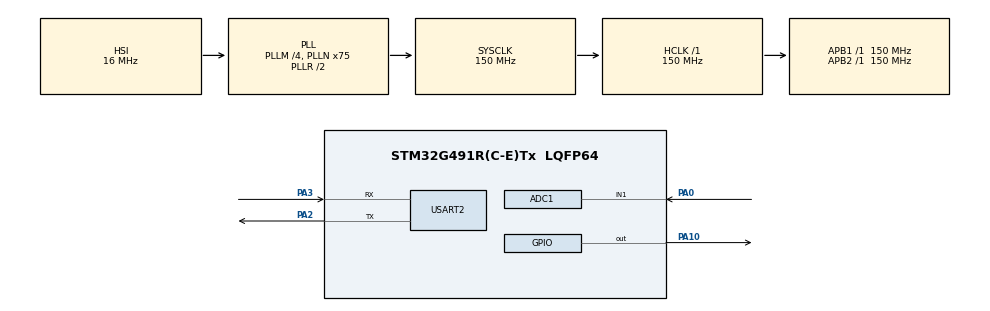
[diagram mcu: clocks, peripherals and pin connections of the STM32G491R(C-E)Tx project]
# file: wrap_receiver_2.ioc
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ADC1.Channel-1\#ChannelRegularConversion=ADC_CHANNEL_1
ADC1.ClockPrescaler=ADC_CLOCK_SYNC_PCLK_DIV4
ADC1.ContinuousConvMode=ENABLE
ADC1.DMAAccessModeView=ENABLE
ADC1.DMAContinuousRequests=ENABLE
ADC1.Mode=ADC_DUALMODE_INTERL
ADC1.NbrOfConversionFlag=1
ADC1.OffsetNumber-1\#ChannelRegularConversion=ADC_OFFSET_NONE
ADC1.Rank-1\#ChannelRegularConversion=1
ADC1.SamplingTime-1\#ChannelRegularConversion=ADC_SAMPLETIME_2CYCLES_5
ADC1.TwoSamplingDelay=ADC_TWOSAMPLINGDELAY_8CYCLES
ADC1.master=1
ADC2.Channel-1\#ChannelRegularConversion=ADC_CHANNEL_1
ADC2.ClockPrescaler=ADC_CLOCK_SYNC_PCLK_DIV4
ADC2.DMAAccessModeView=ENABLE
ADC2.Mode=ADC_DUALMODE_INTERL
ADC2.NbrOfConversionFlag=1
ADC2.OffsetNumber-1\#ChannelRegularConversion=ADC_OFFSET_NONE
ADC2.Rank-1\#ChannelRegularConversion=1
ADC2.SamplingTime-1\#ChannelRegularConversion=ADC_SAMPLETIME_2CYCLES_5
ADC2.TwoSamplingDelay=ADC_TWOSAMPLINGDELAY_8CYCLES
Dma.ADC1.0.Direction=DMA_PERIPH_TO_MEMORY
Dma.ADC1.0.EventEnable=DISABLE
Dma.ADC1.0.Instance=DMA1_Channel1
Dma.ADC1.0.MemDataAlignment=DMA_MDATAALIGN_WORD
Dma.ADC1.0.MemInc=DMA_MINC_ENABLE
Dma.ADC1.0.Mode=DMA_CIRCULAR
Dma.ADC1.0.PeriphDataAlignment=DMA_PDATAALIGN_WORD
Dma.ADC1.0.PeriphInc=DMA_PINC_DISABLE
Dma.ADC1.0.Polarity=HAL_DMAMUX_REQ_GEN_RISING
Dma.ADC1.0.Priority=DMA_PRIORITY_HIGH
Dma.ADC1.0.RequestNumber=1
Dma.ADC1.0.SignalID=NONE
Dma.ADC1.0.SyncEnable=DISABLE
Dma.ADC1.0.SyncPolarity=HAL_DMAMUX_SYNC_NO_EVENT
Dma.ADC1.0.SyncRequestNumber=1
Dma.ADC1.0.SyncSignalID=NONE
Dma.Request0=ADC1
Mcu.Family=STM32G4
Mcu.Name=STM32G491R(C-E)Tx
Mcu.Package=LQFP64
NVIC.DMA1_Channel1_IRQn=true\:0\:0\:false\:false\:true\:false\:true\:true
NVIC.PriorityGroup=NVIC_PRIORITYGROUP_4
PA0.Signal=SharedAnalog_PA0
PA10.Signal=GPIO_Output
PA2.Mode=Asynchronous
PA2.Signal=USART2_TX
PA3.Mode=Asynchronous
PA3.Signal=USART2_RX
ProjectManager.HeapSize=0x200
ProjectManager.StackSize=0x400
ProjectManager.TargetToolchain=STM32CubeIDE
RCC.ADC12Freq_Value=150000000
RCC.ADC345Freq_Value=150000000
RCC.AHBFreq_Value=150000000
RCC.APB1Freq_Value=150000000
RCC.APB1TimFreq_Value=150000000
RCC.APB2Freq_Value=150000000
RCC.APB2TimFreq_Value=150000000
RCC.CortexFreq_Value=150000000
RCC.EXTERNAL_CLOCK_VALUE=12288000
RCC.HCLKFreq_Value=150000000
RCC.HSE_VALUE=8000000
RCC.HSI48_VALUE=48000000
RCC.HSI_VALUE=16000000
RCC.LSE_VALUE=32768
RCC.PLLM=RCC_PLLM_DIV4
RCC.PLLN=75
RCC.SYSCLKFreq_VALUE=150000000
RCC.SYSCLKSource=RCC_SYSCLKSOURCE_PLLCLK
RCC.USBFreq_Value=48000000
RCC.VCOOutputFreq_Value=300000000
SH.SharedAnalog_PA0.0=ADC1_IN1,IN1-Single-Ended
SH.SharedAnalog_PA0.1=ADC2_IN1,IN1-Single-Ended
TIM2.Prescaler=150
USART2.VirtualMode-Asynchronous=VM_ASYNC
VP_TIM2_VS_ClockSourceINT.Mode=Internal
board=custom

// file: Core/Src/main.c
/* USER CODE BEGIN Header */
/**
  ******************************************************************************
  * @file           : main.c
  * @brief          : Main program body
  ******************************************************************************
  * @attention
  *
  * Copyright (c) 2023 STMicroelectronics.
  * All rights reserved.
  *
  * This software is licensed under terms that can be found in the LICENSE file
  * in the root directory of this software component.
  * If no LICENSE file comes with this software, it is provided AS-IS.
  *
  ******************************************************************************
  */
/* USER CODE END Header */
#include "main.h"

/* USER CODE BEGIN Includes */
#include <math.h>
#include "constants.h"
#include "receiver.h"
#include "arm_math.h"
/* USER CODE END Includes */

/* USER CODE BEGIN PD */
// Function Declarations for demodulation
int demodulate(const uint16_t * samples, int * symbs, params_r * params);
void costas_loop(float * norm_samples, float * samples_d, params_r * params);
uint8_t find_packet(float * symbs, uint8_t * bits, const int num_symbs);

/* USER CODE END PD */

ADC_HandleTypeDef hadc1;
ADC_HandleTypeDef hadc2;
DMA_HandleTypeDef hdma_adc1;

TIM_HandleTypeDef htim2;

UART_HandleTypeDef huart2;

/* USER CODE BEGIN PV */
// sampling buffers
uint32_t adc_buf[ADC_BUF_LEN];			// adc buffer
uint16_t buffer_1[ADC_BUF_LEN];			// adc buffer
uint16_t buffer_2[ADC_BUF_LEN];			// adc buffer
float temp_symbs[2*NUM_SYMBS];				// 2x N_BUFF for slack
float symbol_buffer[SYMBOL_BUFF];			// symbol buffer
uint8_t bits[BITS];

volatile uint8_t buff_flag_1 = RESET;
volatile uint8_t buff_flag_2 = RESET;
volatile uint8_t buff_process = RESET;

uint32_t start, end, num_symbs, total_symbs;
uint8_t t_str[NUM_CHARS];

float norm_samples[ADC_BUF_LEN];
float samples_d[ADC_BUF_LEN] = {0, 0, 0, 0, 0, 0};
float filtered_samps[ADC_BUF_LEN + RRC_LEN - 1];

/* USER CODE END PV */

void SystemClock_Config(void);
static void MX_GPIO_Init(void);
static void MX_DMA_Init(void);
static void MX_ADC1_Init(void);
static void MX_ADC2_Init(void);
static void MX_TIM2_Init(void);
static void MX_USART2_UART_Init(void);

int main(void)
{

  /* MCU Configuration--------------------------------------------------------*/

  /* Reset of all peripherals, Initializes the Flash interface and the Systick. */
  HAL_Init();

  /* Configure the system clock */
  SystemClock_Config();

  /* Initialize all configured peripherals */
  MX_GPIO_Init();
  MX_DMA_Init();
  MX_ADC1_Init();
  MX_ADC2_Init();
  MX_TIM2_Init();
  MX_USART2_UART_Init();
  /* USER CODE BEGIN 2 */

  // HAL Code to initialize ADCs for interleaved mode
  HAL_ADCEx_Calibration_Start(&hadc1, ADC_SINGLE_ENDED);
  HAL_ADCEx_Calibration_Start(&hadc2, ADC_SINGLE_ENDED);
  // Starts slave ADC (ADC2); this must be started before ADC1. It won't do anything until triggered by ADC1 anyways.
  HAL_ADC_Start(&hadc2);
  // Starts master ADC (ADC1) with fancy multi DMA command. Here is where we specify which buffer the DMA should store values in and how large the buffer is
  HAL_ADCEx_MultiModeStart_DMA(&hadc1,adc_buf,ADC_BUF_LEN);

  // Set timer for execution timing
  HAL_TIM_Base_Start(&htim2);
  __HAL_TIM_SET_COUNTER(&htim2, 0);

  uint16_t * samples;
  uint8_t packet_found;

  // Initialize params container for costas loop and timing recovery
  params_r params = {.CL_phase = 0,
  					 .CL_integrator = 0,
					 .TR_phase = 0,
					 .TR_integrator = 0,
					 .sps = SPS};

  /* USER CODE END 2 */

  /* Infinite loop */
  while (1)
  {

    /* USER CODE BEGIN 3 */
	// execute one buffer at a time. Look at SWV console to see if computation time is too long
	// alias buffer for ease
	if (buff_flag_1) {
	  samples = buffer_1;
	}
	if (buff_flag_2) {
	  samples = buffer_2;
	}

	if (buff_flag_1 || buff_flag_2) {
	  packet_found = 0;
	  // demodulate buffer
	  start = __HAL_TIM_GET_COUNTER(&htim2);
	  num_symbs = demodulate(buffer_1, temp_symbs, &params);
	  end = __HAL_TIM_GET_COUNTER(&htim2);
	  total_symbs += num_symbs;

	  // add temp_symbs to running buffer for correlation
	  // shift latest entries
	  for (int j = 0; j < SYMBOL_BUFF-num_symbs; j++) {
		  symbol_buffer[j] = symbol_buffer[j+num_symbs];
	  }
	  for (int j = 0; j < num_symbs; j++) {
		  symbol_buffer[SYMBOL_BUFF-1-num_symbs+j] = temp_symbs[j];
	  }

    // Once we have enough symbols, we can check for a packet
	  if (total_symbs >= NUM_SYMBS) {
      // check for packet
			packet_found = find_packet(symbol_buffer, bits, SYMBOL_BUFF);
			if (packet_found) {
        // concatenate bits into a string and send over UART
				for (int i = 0; i < NUM_SYMBS- (NUM_PACKET_H * 15); i = i+8) {
					uint8_t result = 0;
					for(int j = 0; j < 8; j++)
					{
						result <<= 1;
						result += bits[i + j];
					}
					t_str[i>>3] = result;
				}
				HAL_UART_Transmit(&huart2, (uint8_t *)t_str, sizeof(t_str), 100);
			}

			total_symbs = 0;
	  }
	  buff_process = RESET;
	  buff_flag_1 = RESET;
	  buff_flag_2 = RESET;
	}

  }
  /* USER CODE END 3 */
}

void SystemClock_Config(void)
{
  RCC_OscInitTypeDef RCC_OscInitStruct = {0};
  RCC_ClkInitTypeDef RCC_ClkInitStruct = {0};

  /** Configure the main internal regulator output voltage
  */
  HAL_PWREx_ControlVoltageScaling(PWR_REGULATOR_VOLTAGE_SCALE1);

  /** Initializes the RCC Oscillators according to the specified parameters
  * in the RCC_OscInitTypeDef structure.
  */
  RCC_OscInitStruct.OscillatorType = RCC_OSCILLATORTYPE_HSI;
  RCC_OscInitStruct.HSIState = RCC_HSI_ON;
  RCC_OscInitStruct.HSICalibrationValue = RCC_HSICALIBRATION_DEFAULT;
  RCC_OscInitStruct.PLL.PLLState = RCC_PLL_ON;
  RCC_OscInitStruct.PLL.PLLSource = RCC_PLLSOURCE_HSI;
  RCC_OscInitStruct.PLL.PLLM = RCC_PLLM_DIV4;
  RCC_OscInitStruct.PLL.PLLN = 75;
  RCC_OscInitStruct.PLL.PLLP = RCC_PLLP_DIV2;
  RCC_OscInitStruct.PLL.PLLQ = RCC_PLLQ_DIV2;
  RCC_OscInitStruct.PLL.PLLR = RCC_PLLR_DIV2;
  if (HAL_RCC_OscConfig(&RCC_OscInitStruct) != HAL_OK)
  {
    Error_Handler();
  }

  /** Initializes the CPU, AHB and APB buses clocks
  */
  RCC_ClkInitStruct.ClockType = RCC_CLOCKTYPE_HCLK|RCC_CLOCKTYPE_SYSCLK
                              |RCC_CLOCKTYPE_PCLK1|RCC_CLOCKTYPE_PCLK2;
  RCC_ClkInitStruct.SYSCLKSource = RCC_SYSCLKSOURCE_PLLCLK;
  RCC_ClkInitStruct.AHBCLKDivider = RCC_SYSCLK_DIV1;
  RCC_ClkInitStruct.APB1CLKDivider = RCC_HCLK_DIV1;
  RCC_ClkInitStruct.APB2CLKDivider = RCC_HCLK_DIV1;

  if (HAL_RCC_ClockConfig(&RCC_ClkInitStruct, FLASH_LATENCY_4) != HAL_OK)
  {
    Error_Handler();
  }
}

static void MX_ADC1_Init(void)
{

  ADC_MultiModeTypeDef multimode = {0};
  ADC_ChannelConfTypeDef sConfig = {0};

  /** Common config
  */
  hadc1.Instance = ADC1;
  hadc1.Init.ClockPrescaler = ADC_CLOCK_SYNC_PCLK_DIV4;
  hadc1.Init.Resolution = ADC_RESOLUTION_12B;
  hadc1.Init.DataAlign = ADC_DATAALIGN_RIGHT;
  hadc1.Init.GainCompensation = 0;
  hadc1.Init.ScanConvMode = ADC_SCAN_DISABLE;
  hadc1.Init.EOCSelection = ADC_EOC_SINGLE_CONV;
  hadc1.Init.LowPowerAutoWait = DISABLE;
  hadc1.Init.ContinuousConvMode = ENABLE;
  hadc1.Init.NbrOfConversion = 1;
  hadc1.Init.DiscontinuousConvMode = DISABLE;
  hadc1.Init.ExternalTrigConv = ADC_SOFTWARE_START;
  hadc1.Init.ExternalTrigConvEdge = ADC_EXTERNALTRIGCONVEDGE_NONE;
  hadc1.Init.DMAContinuousRequests = ENABLE;
  hadc1.Init.Overrun = ADC_OVR_DATA_PRESERVED;
  hadc1.Init.OversamplingMode = DISABLE;
  if (HAL_ADC_Init(&hadc1) != HAL_OK)
  {
    Error_Handler();
  }

  /** Configure the ADC multi-mode
  */
  multimode.Mode = ADC_DUALMODE_INTERL;
  multimode.DMAAccessMode = ADC_DMAACCESSMODE_12_10_BITS;
  multimode.TwoSamplingDelay = ADC_TWOSAMPLINGDELAY_8CYCLES;
  if (HAL_ADCEx_MultiModeConfigChannel(&hadc1, &multimode) != HAL_OK)
  {
    Error_Handler();
  }

  /** Configure Regular Channel
  */
  sConfig.Channel = ADC_CHANNEL_1;
  sConfig.Rank = ADC_REGULAR_RANK_1;
  sConfig.SamplingTime = ADC_SAMPLETIME_2CYCLES_5;
  sConfig.SingleDiff = ADC_SINGLE_ENDED;
  sConfig.OffsetNumber = ADC_OFFSET_NONE;
  sConfig.Offset = 0;
  if (HAL_ADC_ConfigChannel(&hadc1, &sConfig) != HAL_OK)
  {
    Error_Handler();
  }

}

static void MX_ADC2_Init(void)
{

  ADC_ChannelConfTypeDef sConfig = {0};

  /** Common config
  */
  hadc2.Instance = ADC2;
  hadc2.Init.ClockPrescaler = ADC_CLOCK_SYNC_PCLK_DIV4;
  hadc2.Init.Resolution = ADC_RESOLUTION_12B;
  hadc2.Init.DataAlign = ADC_DATAALIGN_RIGHT;
  hadc2.Init.GainCompensation = 0;
  hadc2.Init.ScanConvMode = ADC_SCAN_DISABLE;
  hadc2.Init.EOCSelection = ADC_EOC_SINGLE_CONV;
  hadc2.Init.LowPowerAutoWait = DISABLE;
  hadc2.Init.ContinuousConvMode = ENABLE;
  hadc2.Init.NbrOfConversion = 1;
  hadc2.Init.DiscontinuousConvMode = DISABLE;
  hadc2.Init.DMAContinuousRequests = DISABLE;
  hadc2.Init.Overrun = ADC_OVR_DATA_PRESERVED;
  hadc2.Init.OversamplingMode = DISABLE;
  if (HAL_ADC_Init(&hadc2) != HAL_OK)
  {
    Error_Handler();
  }

  /** Configure Regular Channel
  */
  sConfig.Channel = ADC_CHANNEL_1;
  sConfig.Rank = ADC_REGULAR_RANK_1;
  sConfig.SamplingTime = ADC_SAMPLETIME_2CYCLES_5;
  sConfig.SingleDiff = ADC_SINGLE_ENDED;
  sConfig.OffsetNumber = ADC_OFFSET_NONE;
  sConfig.Offset = 0;
  if (HAL_ADC_ConfigChannel(&hadc2, &sConfig) != HAL_OK)
  {
    Error_Handler();
  }

}

static void MX_TIM2_Init(void)
{

  TIM_ClockConfigTypeDef sClockSourceConfig = {0};
  TIM_MasterConfigTypeDef sMasterConfig = {0};

  htim2.Instance = TIM2;
  htim2.Init.Prescaler = 150;
  htim2.Init.CounterMode = TIM_COUNTERMODE_UP;
  htim2.Init.Period = 4.294967295E9;
  htim2.Init.ClockDivision = TIM_CLOCKDIVISION_DIV1;
  htim2.Init.AutoReloadPreload = TIM_AUTORELOAD_PRELOAD_DISABLE;
  if (HAL_TIM_Base_Init(&htim2) != HAL_OK)
  {
    Error_Handler();
  }
  sClockSourceConfig.ClockSource = TIM_CLOCKSOURCE_INTERNAL;
  if (HAL_TIM_ConfigClockSource(&htim2, &sClockSourceConfig) != HAL_OK)
  {
    Error_Handler();
  }
  sMasterConfig.MasterOutputTrigger = TIM_TRGO_RESET;
  sMasterConfig.MasterSlaveMode = TIM_MASTERSLAVEMODE_DISABLE;
  if (HAL_TIMEx_MasterConfigSynchronization(&htim2, &sMasterConfig) != HAL_OK)
  {
    Error_Handler();
  }

}

static void MX_USART2_UART_Init(void)
{

  huart2.Instance = USART2;
  huart2.Init.BaudRate = 115200;
  huart2.Init.WordLength = UART_WORDLENGTH_8B;
  huart2.Init.StopBits = UART_STOPBITS_1;
  huart2.Init.Parity = UART_PARITY_NONE;
  huart2.Init.Mode = UART_MODE_TX_RX;
  huart2.Init.HwFlowCtl = UART_HWCONTROL_NONE;
  huart2.Init.OverSampling = UART_OVERSAMPLING_16;
  huart2.Init.OneBitSampling = UART_ONE_BIT_SAMPLE_DISABLE;
  huart2.Init.ClockPrescaler = UART_PRESCALER_DIV1;
  huart2.AdvancedInit.AdvFeatureInit = UART_ADVFEATURE_NO_INIT;
  if (HAL_UART_Init(&huart2) != HAL_OK)
  {
    Error_Handler();
  }
  if (HAL_UARTEx_SetTxFifoThreshold(&huart2, UART_TXFIFO_THRESHOLD_1_8) != HAL_OK)
  {
    Error_Handler();
  }
  if (HAL_UARTEx_SetRxFifoThreshold(&huart2, UART_RXFIFO_THRESHOLD_1_8) != HAL_OK)
  {
    Error_Handler();
  }
  if (HAL_UARTEx_DisableFifoMode(&huart2) != HAL_OK)
  {
    Error_Handler();
  }

}

static void MX_DMA_Init(void)
{

  /* DMA controller clock enable */
  __HAL_RCC_DMAMUX1_CLK_ENABLE();
  __HAL_RCC_DMA1_CLK_ENABLE();

  /* DMA interrupt init */
  /* DMA1_Channel1_IRQn interrupt configuration */
  HAL_NVIC_SetPriority(DMA1_Channel1_IRQn, 0, 0);
  HAL_NVIC_EnableIRQ(DMA1_Channel1_IRQn);

}

static void MX_GPIO_Init(void)
{
  GPIO_InitTypeDef GPIO_InitStruct = {0};

  /* GPIO Ports Clock Enable */
  __HAL_RCC_GPIOA_CLK_ENABLE();

  /*Configure GPIO pin Output Level */
  HAL_GPIO_WritePin(GPIOA, GPIO_PIN_10, GPIO_PIN_RESET);

  /*Configure GPIO pin : PA10 */
  GPIO_InitStruct.Pin = GPIO_PIN_10;
  GPIO_InitStruct.Mode = GPIO_MODE_OUTPUT_PP;
  GPIO_InitStruct.Pull = GPIO_NOPULL;
  GPIO_InitStruct.Speed = GPIO_SPEED_FREQ_LOW;
  HAL_GPIO_Init(GPIOA, &GPIO_InitStruct);

}

/* USER CODE BEGIN 4 */
// Ping Pong Buffer
// Called when first half of buffer is filled
void HAL_ADC_ConvHalfCpltCallback(ADC_HandleTypeDef* hadc) {
  // toggles buffer status pin so sampling rate can be measured
  HAL_GPIO_WritePin(GPIOA, GPIO_PIN_10, GPIO_PIN_SET);

  // copies ADC/DMA temp buffer into sample buffer
  if (!buff_process){
	buff_process = SET;
	buff_flag_1 = SET;
	buff_flag_2 = RESET;
	for(int j = 0; j < ADC_BUF_LEN/2; j++)
	{
	  buffer_1[2*j] = (uint16_t)(adc_buf[j]&0x0000FFFF);
	  buffer_1[2*j+1] = (uint16_t)(adc_buf[j]>>16);
	}
  }
}

// Called when buffer is completely filled
void HAL_ADC_ConvCpltCallback(ADC_HandleTypeDef* hadc) {
  // toggles buffer status pin so sampling rate can be measured
  HAL_GPIO_WritePin(GPIOA, GPIO_PIN_10, GPIO_PIN_RESET);

  // copies ADC/DMA temp buffer into sample buffer
  if (!buff_process){
	buff_process = SET;
	buff_flag_2 = SET;
	buff_flag_1 = RESET;
	for(int j = 0; j < ADC_BUF_LEN/2; j++) {
	buffer_2[2*j] = (uint16_t) adc_buf[j+ADC_BUF_LEN/2]*0x0000FFFF;
	buffer_2[2*j+1] = (uint16_t) adc_buf[j+ADC_BUF_LEN/2]>>16;
	}
  }
}

int demodulate(const uint16_t * samples, int * symbs, params_r * params) {

    normalize(samples, norm_samples);

    // Costas Loop (norm_samples -> samples_d)
    costas_loop(norm_samples, samples_d, params);
    // Filter w SRRC (samples_d -> filtered_samps)
    arm_conv_f32(samples_d, ADC_BUF_LEN, RRC, RRC_LEN, filtered_samps);
    // readjust window
    float shift = RRC_LEN/2. - 0.5;
    int k;
    for (int i = shift ; i < ADC_BUF_LEN+RRC_LEN-1-shift; i++) {
        k = i - shift;
        filtered_samps[k] = filtered_samps[i];
    }

    // Timing recovery (filtered_samps -> symbs)
    int bit_len = timing_recovery(filtered_samps, symbs, params);

    return bit_len;
}

void costas_loop(float * norm_samples, float * samples_d, params_r * params) {
    float phase = params->CL_phase;
    float inph[2*ORDER+1] = {0, 0, 0, 0, 0, 0, 0, 0, 0, 0, 0};
    float quad[2*ORDER+1] = {0, 0, 0, 0, 0, 0, 0, 0, 0, 0, 0};
    float inph_[ORDER+1] = {0, 0, 0, 0, 0, 0};
    float quad_[ORDER+1] = {0, 0, 0, 0, 0, 0};
    double error = 0;
    float integrator = 0; //params->CL_integrator;

    float kp = 8.5;
    float ki = 0.1;
    float dt = (float)FC / (float)FS;

    for (int i = ORDER; i < ADC_BUF_LEN+ORDER; i++) {
        // define t from microcontroller
        int k = i - ORDER;
        inph_[ORDER] = norm_samples[k]*2*cos(2*M_PI*dt*k + phase);
        quad_[ORDER] = norm_samples[k]*-2*sin(2*M_PI*dt*k + phase);

        arm_conv_f32(inph_, ORDER+1, lp, ORDER+1, inph);
        arm_conv_f32(quad_, ORDER+1, lp, ORDER+1, quad);

        samples_d[k] = inph[ORDER];

        error = inph[ORDER] * quad[ORDER];
        integrator += ki*error;
        phase = phase + kp*error + integrator;

        // shift the values of inph_ and quad_
        for (int jx = 1; jx < ORDER+1; jx++) {
            inph_[jx-1] = inph_[jx];
            quad_[jx-1] = quad_[jx];
        }
    }
    params->CL_phase = remainder(phase, 2*M_PI);
    params->CL_integrator = remainder(integrator, 2*M_PI);
}

uint8_t find_packet(float * symbs, uint8_t * bits, const int num_symbs) {
    // take cross correlation
    float xcorr_out[SYMBOL_BUFF+14];
    uint8_t packet_found = 0;
    arm_correlate_f32(key, 15, symbs, num_symbs, xcorr_out);

    // find packet
    int shift = 0;
    for (int i = num_symbs-(NUM_PACKET_H-1)*15 - 1; i >= 0; i--) {
        if (fabs(xcorr_out[i]) > 14) {
            shift = SYMBOL_BUFF+14-i;
            packet_found = 1;
            if (xcorr_out[i] < 0) {
              for (int j = 0; j < BITS; j++) {
                symbs[shift + j] = symbs[shift+ j]*-1;
              }
            }
          break;
        }
    }

    if (!packet_found)
        return 0;

    // convert symbols to bits
    for (int i = 0; i < BITS; i++) {
        bits[i] = (symbs[shift+i]+1)*0.5;
    }
    return 1;
}
/* USER CODE END 4 */

void Error_Handler(void)
{
  __disable_irq();
  while (1)
  {
  }
}
